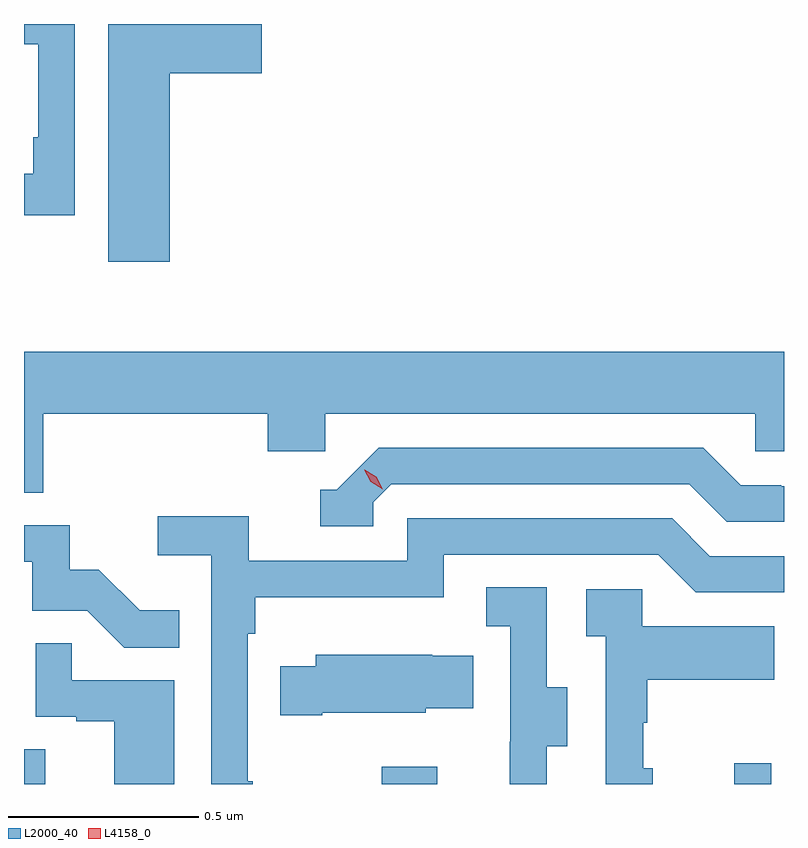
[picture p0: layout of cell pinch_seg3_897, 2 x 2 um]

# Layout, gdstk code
import gdstk
lib = gdstk.Library(unit=1e-6, precision=1e-09)
def R(c, l, rs):  # rectangles x0, y0, x1, y1
    for r in rs: c.add(gdstk.rectangle(r[:2], r[2:], *l))
def P(c, l, *ps):  # polygons
    for p in ps: c.add(gdstk.Polygon(p, *l))
L2000_40 = (2000, 40)
L4158_0 = (4158, 0)

pinch_seg3_897 = lib.new_cell('pinch_seg3_897')
R(pinch_seg3_897, L2000_40, [(880.835,705.27,880.891,705.362), (881.776,705.27,881.923,705.316), (882.704,705.27,882.801,705.325)])
P(pinch_seg3_897, L2000_40, [(880.968,707.27),(880.835,707.27),(880.835,707.217),(880.872,707.217),(880.872,706.972),(880.859,706.972),(880.859,706.876),(880.835,706.876),(880.835,706.767),(880.968,706.767)],
  [(881.218,707.141),(881.461,707.141),(881.461,707.27),(881.057,707.27),(881.057,706.644),(881.218,706.644)],
  [(880.886,706.244),(881.477,706.244),(881.477,706.146),(881.628,706.146),(881.628,706.244),(882.759,706.244),(882.759,706.146),(882.835,706.146),(882.835,706.408),(880.835,706.408),(880.835,706.036),(880.886,706.036)],
  [(881.754,706.011),(881.802,706.059),(882.585,706.059),(882.684,705.96),(882.835,705.96),(882.835,706.053),(882.828,706.053),(882.828,706.056),(882.721,706.056),(882.622,706.155),(881.769,706.155),(881.658,706.044),(881.615,706.044),(881.615,705.948),(881.754,705.948)],
  [(881.437,705.277),(881.424,705.277),(881.424,705.665),(881.444,705.665),(881.444,705.761),(881.94,705.761),(881.94,705.873),(882.504,705.873),(882.603,705.774),(882.835,705.774),(882.835,705.87),(882.64,705.87),(882.541,705.969),(881.844,705.969),(881.844,705.858),(881.426,705.858),(881.426,705.974),(881.187,705.974),(881.187,705.872),(881.328,705.872),(881.328,705.27),(881.437,705.27)],
  [(881.243,705.727),(881.139,705.727),(881.032,705.834),(880.956,705.834),(880.956,705.951),(880.835,705.951),(880.835,705.855),(880.857,705.855),(880.857,705.726),(881.001,705.726),(881.099,705.628),(881.243,705.628)],
  [(882.211,705.37),(882.265,705.37),(882.265,705.525),(882.21,705.525),(882.21,705.788),(882.051,705.788),(882.051,705.685),(882.114,705.685),(882.114,705.381),(882.113,705.381),(882.113,705.27),(882.211,705.27)],
  [(882.49,705.312),(882.465,705.312),(882.465,705.431),(882.475,705.431),(882.475,705.545),(882.809,705.545),(882.809,705.685),(882.462,705.685),(882.462,705.783),(882.315,705.783),(882.315,705.659),(882.366,705.659),(882.366,705.27),(882.49,705.27)],
  [(881.23,705.543),(880.961,705.543),(880.961,705.641),(880.866,705.641),(880.866,705.447),(880.973,705.447),(880.973,705.435),(881.072,705.435),(881.072,705.27),(881.23,705.27)],
  [(881.62,705.458),(881.892,705.458),(881.892,705.47),(882.017,705.47),(882.017,705.607),(881.909,705.607),(881.909,705.61),(881.603,705.61),(881.603,705.58),(881.509,705.58),(881.509,705.451),(881.62,705.451)])
P(pinch_seg3_897, L4158_0, [(881.779,706.046),(881.748,706.065),(881.731,706.097),(881.731,706.097),(881.732,706.097),(881.762,706.078),(881.779,706.046),(881.779,706.046)])

lib.write_gds('pinch_seg3_897.gds')
